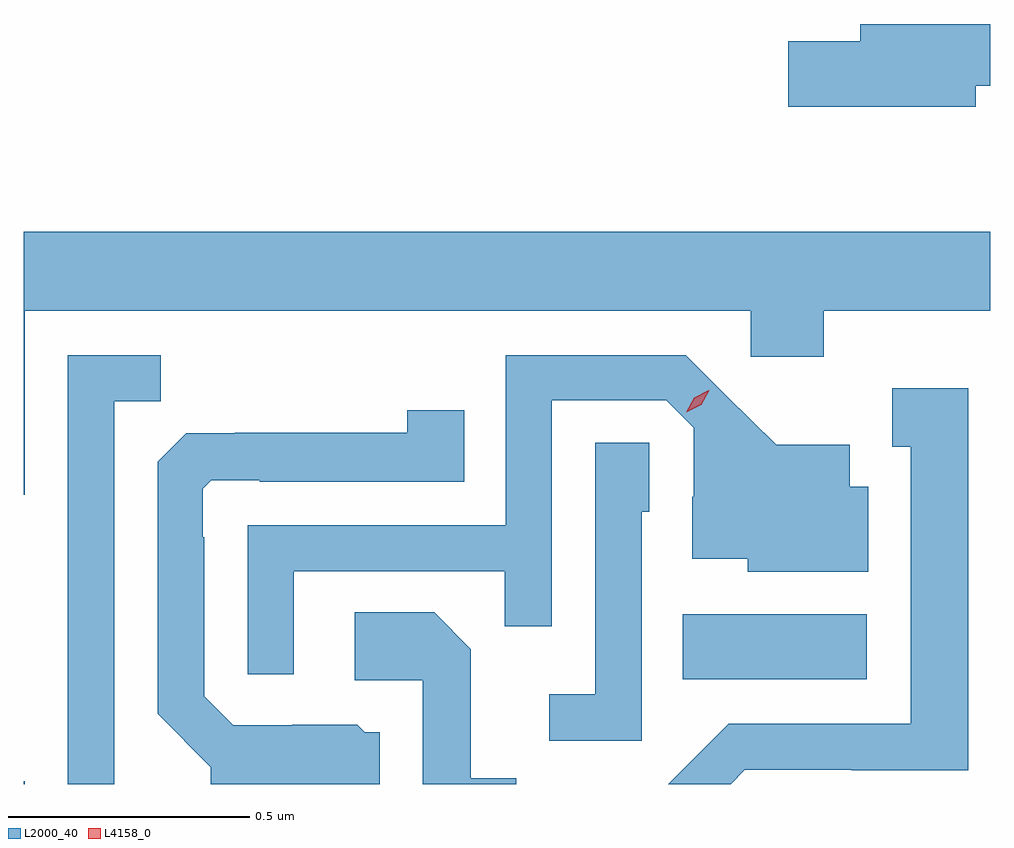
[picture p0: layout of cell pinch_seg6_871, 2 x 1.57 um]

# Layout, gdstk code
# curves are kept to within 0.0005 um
import gdstk
lib = gdstk.Library(unit=1e-6, precision=1e-09)
def R(c, l, rs):  # rectangles x0, y0, x1, y1
    for r in rs: c.add(gdstk.rectangle(r[:2], r[2:], *l))
def P(c, l, *ps):  # polygons
    for p in ps: c.add(gdstk.Polygon(p, *l))
L2000_40 = (2000, 40)
L4158_0 = (4158, 0)

pinch_seg6_871 = lib.new_cell('pinch_seg6_871')
R(pinch_seg6_871, L2000_40, [(146.66,979.657,146.662,979.663), (148.024,979.874,148.405,980.008)])
P(pinch_seg6_871, L2000_40, [(148.63,981.102),(148.66,981.102),(148.66,981.23),(148.391,981.23),(148.391,981.194),(148.242,981.194),(148.242,981.059),(148.63,981.059)],
  [(146.662,980.636),(148.164,980.636),(148.164,980.541),(148.316,980.541),(148.316,980.636),(148.66,980.636),(148.66,980.8),(146.66,980.8),(146.66,980.256),(146.662,980.256)],
  [(147.219,980.097),(147.655,980.097),(147.655,979.984),(147.753,979.984),(147.753,980.451),(147.99,980.451),(148.047,980.394),(148.047,980.252),(148.043,980.252),(148.043,980.123),(148.158,980.123),(148.158,980.096),(148.408,980.096),(148.408,980.272),(148.369,980.272),(148.369,980.359),(148.217,980.359),(148.03,980.544),(147.657,980.544),(147.657,980.193),(147.123,980.193),(147.123,979.884),(147.219,979.884)],
  [(146.847,980.449),(146.943,980.449),(146.943,980.544),(146.751,980.544),(146.751,979.657),(146.847,979.657)],
  [(148.152,979.686),(148.374,979.686),(148.374,979.685),(148.615,979.685),(148.615,980.476),(148.457,980.476),(148.457,980.355),(148.496,980.355),(148.496,979.782),(148.119,979.782),(147.994,979.657),(148.123,979.657)],
  [(147.397,979.764),(147.366,979.764),(147.35,979.78),(147.216,979.78),(147.216,979.779),(147.093,979.779),(147.033,979.839),(147.033,980.168),(147.03,980.168),(147.03,980.268),(147.048,980.286),(147.148,980.286),(147.148,980.283),(147.572,980.283),(147.572,980.431),(147.454,980.431),(147.454,980.384),(147.097,980.384),(147.097,980.383),(146.996,980.383),(146.937,980.324),(146.937,979.802),(147.047,979.692),(147.047,979.657),(147.397,979.657)],
  [(147.939,980.22),(147.954,980.22),(147.954,980.363),(147.843,980.363),(147.843,979.843),(147.747,979.843),(147.747,979.746),(147.939,979.746)],
  [(147.679,979.669),(147.585,979.669),(147.585,979.936),(147.509,980.012),(147.345,980.012),(147.345,979.872),(147.486,979.872),(147.486,979.657),(147.679,979.657)])
P(pinch_seg6_871, L4158_0, [(148.031,980.426),(148.031,980.426),(148.048,980.456),(148.078,980.472),(148.079,980.472),(148.079,980.472),(148.062,980.442),(148.031,980.426)])

lib.write_gds('pinch_seg6_871.gds')
